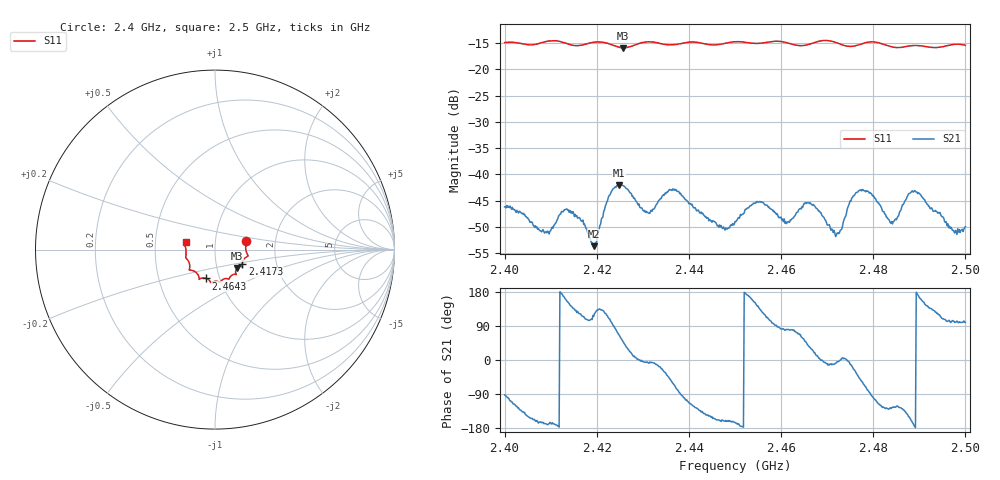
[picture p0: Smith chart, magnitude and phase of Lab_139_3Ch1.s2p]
# Hz S RI R 50
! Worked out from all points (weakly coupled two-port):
!   601 points, 2.4 GHz to 2.5 GHz, reference 50 ohm
!   highest |S21| = -42.02 dB at 2.4248 GHz (marker M1); lowest = -53.7 dB at 2.4193 GHz (marker M2)
!   lowest |S11| = -15.9 dB at 2.4257 GHz (marker M3), VSWR 1.38, Z = 62.5 - j13.1 ohm
!   |S11| at or under -10 dB: start of sweep to end of sweep
!   S12 and S22 are empty: the file has one direction only
!   S11 on the Smith chart (normalised r, x): 2.4 GHz: 1.41, +0.14; 2.4173 GHz: 1.34, -0.23; 2.4643 GHz: 0.86, -0.28; 2.5 GHz: 0.72, +0.06
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2.4e9  0.1727 0.0489  -0.000184 -0.00491  0 0  0 0
2.409167e9  0.1822 -0.0298  -0.00274 -0.000505  0 0  0 0
2.413e9  0.1743 -0.0415  -0.00446 0.00122  0 0  0 0
2.416667e9  0.1527 -0.0744  -0.00169 0.00316  0 0  0 0
2.417333e9  0.1519 -0.0819  -0.00125 0.00313  0 0  0 0
2.419333e9  0.153 -0.0964  -0.000876 0.00188  0 0  0 0
2.424833e9  0.1299 -0.0972  0.00319 0.00726  0 0  0 0
2.425667e9  0.1232 -0.1023  0.00514 0.00591  0 0  0 0
2.431e9  0.1189 -0.1388  0.00435 -0.000427  0 0  0 0
2.433333e9  0.1129 -0.1377  0.00535 -0.00145  0 0  0 0
2.437e9  0.0869 -0.1484  0.00255 -0.00658  0 0  0 0
2.446667e9  0.0427 -0.1674  -0.0031 -0.00115  0 0  0 0
2.45e9  0.0289 -0.181  -0.00343 -0.000925  0 0  0 0
2.455e9  0.00176 -0.1765  -0.0043 0.00331  0 0  0 0
2.461333e9  -0.0277 -0.1766  0.000595 0.00345  0 0  0 0
2.464333e9  -0.0499 -0.1604  0.00221 0.00414  0 0  0 0
2.466667e9  -0.0759 -0.1593  0.00458 0.00243  0 0  0 0
2.472167e9  -0.0886 -0.155  0.00275 -0.000202  0 0  0 0
2.477333e9  -0.1299 -0.1156  0.00422 -0.00576  0 0  0 0
2.483333e9  -0.1406 -0.0896  -0.00241 -0.00286  0 0  0 0
2.488833e9  -0.1622 -0.0463  -0.00681 -0.000924  0 0  0 0
2.5e9  -0.1641 0.0425  -0.000511 0.00315  0 0  0 0
